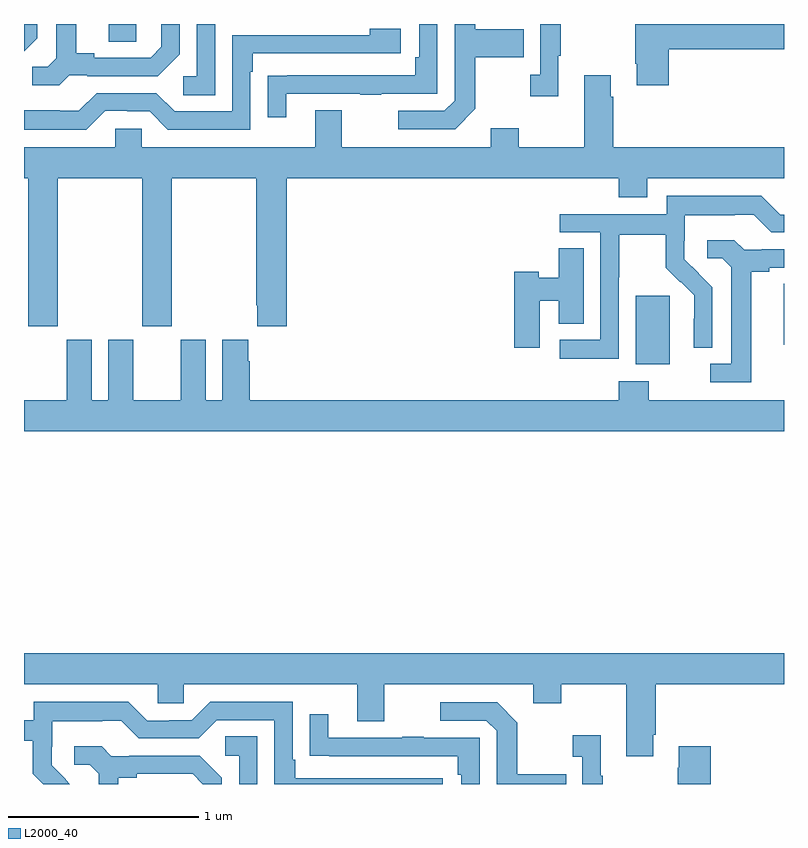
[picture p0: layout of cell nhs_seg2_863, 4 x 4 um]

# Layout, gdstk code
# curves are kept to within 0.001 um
import gdstk
lib = gdstk.Library(unit=1e-6, precision=1e-09)
def R(c, l, rs):  # rectangles x0, y0, x1, y1
    for r in rs: c.add(gdstk.rectangle(r[:2], r[2:], *l))
def P(c, l, *ps):  # polygons
    for p in ps: c.add(gdstk.Polygon(p, *l))
L2000_40 = (2000, 40)

nhs_seg2_863 = lib.new_cell('nhs_seg2_863')
R(nhs_seg2_863, L2000_40, [(158.219,628.01,158.398,628.371), (158.999,628.113,159,628.433), (155.447,629.707,155.592,629.8)])
P(nhs_seg2_863, L2000_40, [(158.393,629.668),(159,629.668),(159,629.8),(158.218,629.8),(158.218,629.59),(158.225,629.59),(158.225,629.478),(158.393,629.478)],
  [(156.379,629.433),(156.769,629.433),(156.769,629.428),(156.881,629.428),(156.881,629.433),(157.176,629.433),(157.176,629.8),(157.08,629.8),(157.08,629.626),(157.06,629.626),(157.06,629.529),(156.385,629.529),(156.385,629.528),(156.283,629.528),(156.283,629.31),(156.379,629.31)],
  [(155.238,629.529),(155.332,629.529),(155.332,629.526),(155.704,629.526),(155.82,629.642),(155.82,629.8),(155.723,629.8),(155.723,629.679),(155.666,629.622),(155.371,629.622),(155.371,629.645),(155.275,629.645),(155.275,629.8),(155.171,629.8),(155.171,629.621),(155.124,629.574),(155.043,629.574),(155.043,629.477),(155.186,629.477)],
  [(155.07,629.726),(155.07,629.8),(155,629.8),(155,629.656)],
  [(156.006,629.8),(155.91,629.8),(155.91,629.526),(155.838,629.526),(155.838,629.425),(156.006,629.425)],
  [(157.813,629.633),(157.825,629.633),(157.825,629.8),(157.716,629.8),(157.716,629.534),(157.665,629.534),(157.665,629.421),(157.813,629.421)],
  [(157.375,629.353),(157.375,629.626),(157.631,629.626),(157.631,629.773),(157.375,629.773),(157.375,629.8),(157.266,629.8),(157.266,629.397),(157.212,629.343),(156.969,629.343),(156.969,629.247),(157.269,629.247)],
  [(155.427,629.343),(155.543,629.343),(155.543,629.34),(155.661,629.34),(155.757,629.244),(156.192,629.244),(156.192,629.549),(156.205,629.549),(156.205,629.646),(156.982,629.646),(156.982,629.776),(156.821,629.776),(156.821,629.742),(156.096,629.742),(156.096,629.34),(155.793,629.34),(155.697,629.436),(155.382,629.436),(155.289,629.343),(155.189,629.343),(155.189,629.347),(155,629.347),(155,629.243),(155.327,629.243)],
  [(155.178,628.988),(155.623,628.988),(155.623,628.209),(155.778,628.209),(155.778,628.988),(156.223,628.988),(156.223,628.321),(156.227,628.321),(156.227,628.209),(156.383,628.209),(156.383,628.988),(158.129,628.988),(158.129,628.889),(158.281,628.889),(158.281,628.988),(159,628.988),(159,629.152),(158.102,629.152),(158.102,629.417),(158.089,629.417),(158.089,629.53),(157.949,629.53),(157.949,629.152),(157.605,629.152),(157.605,629.251),(157.457,629.251),(157.457,629.152),(156.673,629.152),(156.673,629.347),(156.533,629.347),(156.533,629.152),(155.619,629.152),(155.619,629.25),(155.481,629.25),(155.481,629.152),(155,629.152),(155,628.988),(155.023,628.988),(155.023,628.209),(155.178,628.209)],
  [(158.13,628.468),(158.133,628.468),(158.133,628.692),(158.377,628.692),(158.377,628.517),(158.454,628.44),(158.457,628.443),(158.528,628.373),(158.528,628.25),(158.526,628.25),(158.526,628.096),(158.622,628.096),(158.622,628.414),(158.476,628.562),(158.476,628.659),(158.478,628.659),(158.478,628.793),(158.741,628.793),(158.741,628.797),(158.841,628.797),(158.934,628.704),(159,628.704),(159,628.797),(158.979,628.797),(158.879,628.897),(158.382,628.897),(158.382,628.8),(157.821,628.8),(157.821,628.704),(158.034,628.704),(158.034,628.137),(157.821,628.137),(157.821,628.039),(158.13,628.039)],
  [(158.827,628.496),(158.923,628.496),(158.923,628.518),(159,628.518),(159,628.614),(158.884,628.614),(158.884,628.611),(158.79,628.611),(158.738,628.663),(158.595,628.663),(158.595,628.566),(158.676,628.566),(158.723,628.519),(158.723,628.011),(158.613,628.011),(158.613,627.915),(158.827,627.915)],
  [(157.714,628.343),(157.814,628.343),(157.814,628.222),(157.945,628.222),(157.945,628.619),(157.814,628.619),(157.814,628.465),(157.71,628.465),(157.71,628.496),(157.58,628.496),(157.58,628.095),(157.714,628.095)],
  [(159,627.82),(158.289,627.82),(158.289,627.919),(158.129,627.919),(158.129,627.82),(156.188,627.82),(156.188,628.025),(156.181,628.025),(156.181,628.138),(156.044,628.138),(156.044,627.82),(155.956,627.82),(155.956,628.138),(155.825,628.138),(155.825,627.82),(155.575,627.82),(155.575,628.138),(155.444,628.138),(155.444,627.82),(155.356,627.82),(155.356,628.138),(155.225,628.138),(155.225,627.82),(155,627.82),(155,627.656),(159,627.656)],
  [(158.311,626.059),(158.324,626.059),(158.324,626.324),(159,626.324),(159,626.488),(155,626.488),(155,626.324),(155.703,626.324),(155.703,626.226),(155.841,626.226),(155.841,626.324),(156.755,626.324),(156.755,626.13),(156.895,626.13),(156.895,626.324),(157.679,626.324),(157.679,626.225),(157.827,626.225),(157.827,626.324),(158.171,626.324),(158.171,625.947),(158.311,625.947)],
  [(155.219,625.823),(155.22,625.824),(155.146,625.898),(155.146,625.995),(155.148,625.995),(155.148,626.129),(155.411,626.129),(155.411,626.133),(155.511,626.133),(155.604,626.04),(155.919,626.04),(156.015,626.136),(156.318,626.136),(156.318,625.8),(157.204,625.8),(157.204,625.83),(156.427,625.83),(156.427,625.927),(156.414,625.927),(156.414,626.232),(155.979,626.232),(155.883,626.136),(155.765,626.136),(155.765,626.133),(155.649,626.133),(155.549,626.233),(155.052,626.233),(155.052,626.136),(155,626.136),(155,626.028),(155.047,626.028),(155.047,625.853),(155.1,625.8),(155.242,625.8)],
  [(157.853,625.851),(157.597,625.851),(157.597,626.123),(157.491,626.229),(157.191,626.229),(157.191,626.133),(157.434,626.133),(157.488,626.079),(157.488,625.8),(157.853,625.8)],
  [(157.398,626.043),(157.103,626.043),(157.103,626.048),(156.991,626.048),(156.991,626.043),(156.601,626.043),(156.601,626.167),(156.505,626.167),(156.505,625.948),(156.607,625.948),(156.607,625.947),(157.282,625.947),(157.282,625.85),(157.302,625.85),(157.302,625.8),(157.398,625.8)],
  [(158.047,625.843),(158.035,625.843),(158.035,626.056),(157.887,626.056),(157.887,625.943),(157.938,625.943),(157.938,625.8),(158.047,625.8)],
  [(156.228,626.051),(156.06,626.051),(156.06,625.95),(156.132,625.95),(156.132,625.8),(156.228,625.8)],
  [(155.497,625.832),(155.593,625.832),(155.593,625.854),(155.888,625.854),(155.942,625.8),(156.042,625.8),(156.042,625.834),(155.926,625.95),(155.554,625.95),(155.554,625.947),(155.46,625.947),(155.408,625.999),(155.265,625.999),(155.265,625.902),(155.346,625.902),(155.393,625.855),(155.393,625.8),(155.497,625.8)],
  [(158.615,625.999),(158.447,625.999),(158.447,625.886),(158.44,625.886),(158.44,625.8),(158.615,625.8)])

lib.write_gds('nhs_seg2_863.gds')
